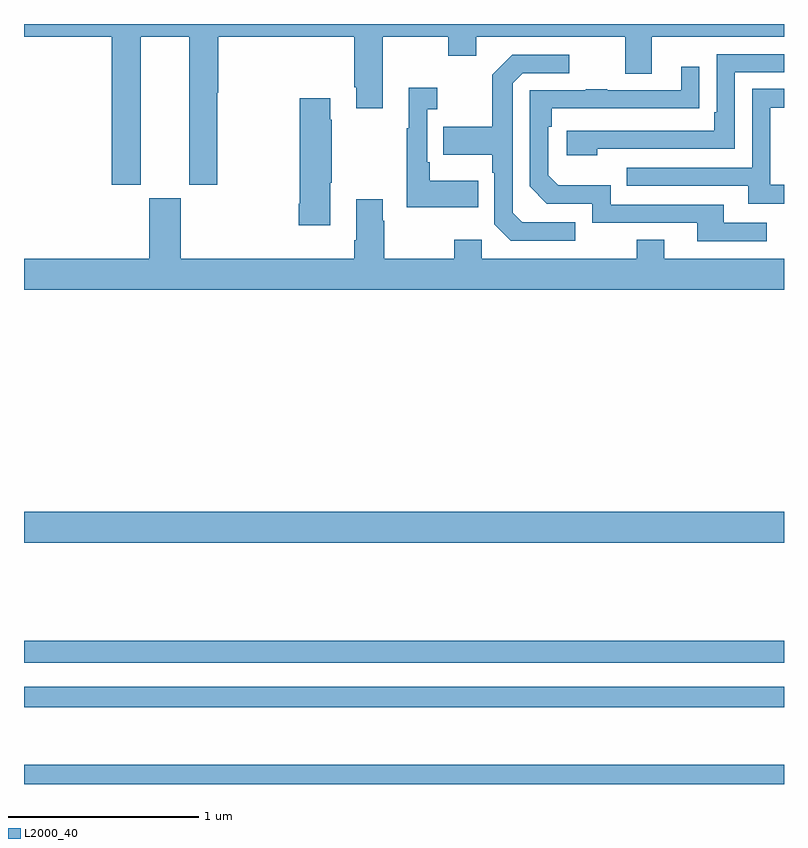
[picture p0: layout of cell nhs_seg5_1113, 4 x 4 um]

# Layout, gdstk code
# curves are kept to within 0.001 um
import gdstk
lib = gdstk.Library(unit=1e-6, precision=1e-09)
def R(c, l, rs):  # rectangles x0, y0, x1, y1
    for r in rs: c.add(gdstk.rectangle(r[:2], r[2:], *l))
def P(c, l, *ps):  # polygons
    for p in ps: c.add(gdstk.Polygon(p, *l))
L2000_40 = (2000, 40)

nhs_seg5_1113 = lib.new_cell('nhs_seg5_1113')
R(nhs_seg5_1113, L2000_40, [(179,880.799,183,880.9), (179,881.202,183,881.31), (179,881.436,183,881.552), (179,882.068,183,882.232)])
P(nhs_seg5_1113, L2000_40, [(179.614,884.732),(179.87,884.732),(179.87,883.953),(180.018,883.953),(180.018,884.436),(180.023,884.436),(180.023,884.732),(180.737,884.732),(180.737,884.467),(180.749,884.467),(180.749,884.355),(180.889,884.355),(180.889,884.732),(181.234,884.732),(181.234,884.633),(181.381,884.633),(181.381,884.732),(182.165,884.732),(182.165,884.538),(182.305,884.538),(182.305,884.732),(183,884.732),(183,884.799),(179,884.799),(179,884.732),(179.462,884.732),(179.462,883.953),(179.614,883.953)],
  [(182.018,884.142),(182.742,884.142),(182.742,884.544),(183,884.544),(183,884.64),(182.646,884.64),(182.646,884.335),(182.633,884.335),(182.633,884.238),(181.857,884.238),(181.857,884.108),(182.018,884.108)],
  [(181.9,883.755),(181.623,883.755),(181.572,883.806),(181.572,884.487),(181.626,884.541),(181.87,884.541),(181.87,884.637),(181.569,884.637),(181.464,884.531),(181.464,884.259),(181.207,884.259),(181.207,884.111),(181.464,884.111),(181.464,884.015),(181.476,884.015),(181.476,883.746),(181.563,883.659),(181.9,883.659)],
  [(182.908,883.752),(182.683,883.752),(182.683,883.848),(182.088,883.848),(182.088,883.951),(181.811,883.951),(181.758,884.004),(181.758,884.258),(181.778,884.258),(181.778,884.355),(182.555,884.356),(182.555,884.575),(182.459,884.575),(182.459,884.451),(182.069,884.451),(182.069,884.456),(181.957,884.456),(181.957,884.451),(181.662,884.451),(181.662,883.944),(181.752,883.854),(181.992,883.854),(181.992,883.752),(182.543,883.752),(182.543,883.656),(182.908,883.656)],
  [(181.391,883.975),(181.135,883.975),(181.135,884.071),(181.122,884.071),(181.122,884.351),(181.174,884.351),(181.174,884.464),(181.025,884.464),(181.025,884.251),(181.014,884.251),(181.014,883.835),(181.391,883.835)],
  [(183,883.953),(182.928,883.953),(182.928,884.358),(183,884.358),(183,884.459),(182.832,884.459),(182.832,884.043),(182.173,884.043),(182.173,883.947),(182.813,883.947),(182.813,883.853),(183,883.853)],
  [(180.613,883.963),(180.621,883.963),(180.621,884.294),(180.613,884.294),(180.613,884.407),(180.451,884.407),(180.451,883.852),(180.446,883.852),(180.446,883.74),(180.613,883.74)],
  [(183,883.564),(182.371,883.564),(182.371,883.663),(182.224,883.663),(182.224,883.564),(181.41,883.564),(181.41,883.663),(181.264,883.663),(181.264,883.564),(180.897,883.564),(180.897,883.763),(180.889,883.763),(180.889,883.876),(180.749,883.876),(180.749,883.66),(180.737,883.66),(180.737,883.564),(179.824,883.564),(179.824,883.881),(179.66,883.881),(179.66,883.564),(179,883.564),(179,883.4),(183,883.4)])

lib.write_gds('nhs_seg5_1113.gds')
